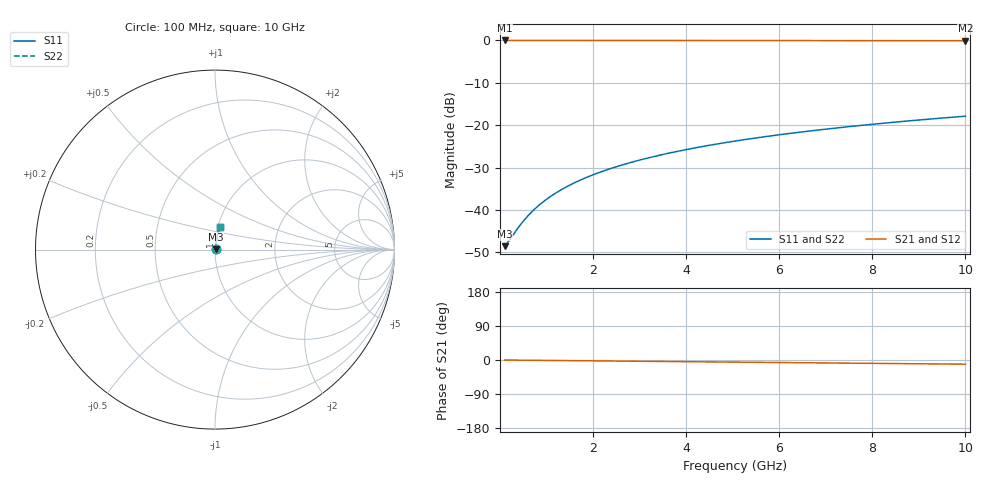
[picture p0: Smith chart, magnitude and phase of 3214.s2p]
# Hz S RI R 50.00
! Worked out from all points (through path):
!   100 points, 100 MHz to 10 GHz, reference 50 ohm
!   highest |S21| = -0.03 dB at 100 MHz (marker M1); lowest = -0.1 dB at 10 GHz (marker M2)
!   group delay of S21, straight-line fit = 3.07 ps
!   lowest |S11| = -48.5 dB at 100 MHz (marker M3), VSWR 1.01, Z = 50.4 + j0.129 ohm
!   |S11| at or under -10 dB: start of sweep to end of sweep
!   |S22| runs from -48.5 to -17.9 dB; largest |S21 - S12| = 0
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1e8  0.00351 0.00128  0.9965 -0.00193  0.9965 -0.00193  0.00351 0.00128
2e8  0.00354 0.00256  0.9965 -0.00385  0.9965 -0.00385  0.00354 0.00256
4e8  0.0036 0.00511  0.9964 -0.00771  0.9964 -0.00771  0.0036 0.00511
5e8  0.00364 0.00639  0.9964 -0.00963  0.9964 -0.00963  0.00364 0.00639
6e8  0.00368 0.00767  0.9963 -0.0116  0.9963 -0.0116  0.00368 0.00767
7e8  0.00372 0.00895  0.9963 -0.0135  0.9963 -0.0135  0.00372 0.00895
8e8  0.00376 0.0102  0.9962 -0.0154  0.9962 -0.0154  0.00376 0.0102
1e9  0.00387 0.0128  0.9961 -0.0193  0.9961 -0.0193  0.00387 0.0128
1.2e9  0.00399 0.0153  0.996 -0.0231  0.996 -0.0231  0.00399 0.0153
1.5e9  0.00421 0.0192  0.9957 -0.0289  0.9957 -0.0289  0.00421 0.0192
1.8e9  0.00447 0.023  0.9955 -0.0347  0.9955 -0.0347  0.00447 0.023
2.1e9  0.00477 0.0268  0.9951 -0.0404  0.9951 -0.0404  0.00477 0.0268
2.5e9  0.00524 0.0319  0.9946 -0.0481  0.9946 -0.0481  0.00524 0.0319
2.9e9  0.00579 0.037  0.994 -0.0558  0.994 -0.0558  0.00579 0.037
3.4e9  0.00658 0.0433  0.9932 -0.0654  0.9932 -0.0654  0.00658 0.0433
4.2e9  0.00811 0.0534  0.9915 -0.0807  0.9915 -0.0807  0.00811 0.0534
5.1e9  0.0102 0.0647  0.9892 -0.0978  0.9892 -0.0978  0.0102 0.0647
5.9e9  0.0124 0.0747  0.9869 -0.113  0.9869 -0.113  0.0124 0.0747
6.7e9  0.0148 0.0845  0.9842 -0.1281  0.9842 -0.1281  0.0148 0.0845
7.5e9  0.0176 0.0943  0.9811 -0.1431  0.9811 -0.1431  0.0176 0.0943
8.4e9  0.0211 0.1052  0.9773 -0.1599  0.9773 -0.1599  0.0211 0.1052
1e10  0.0282 0.1243  0.9696 -0.1894  0.9696 -0.1894  0.0282 0.1243
